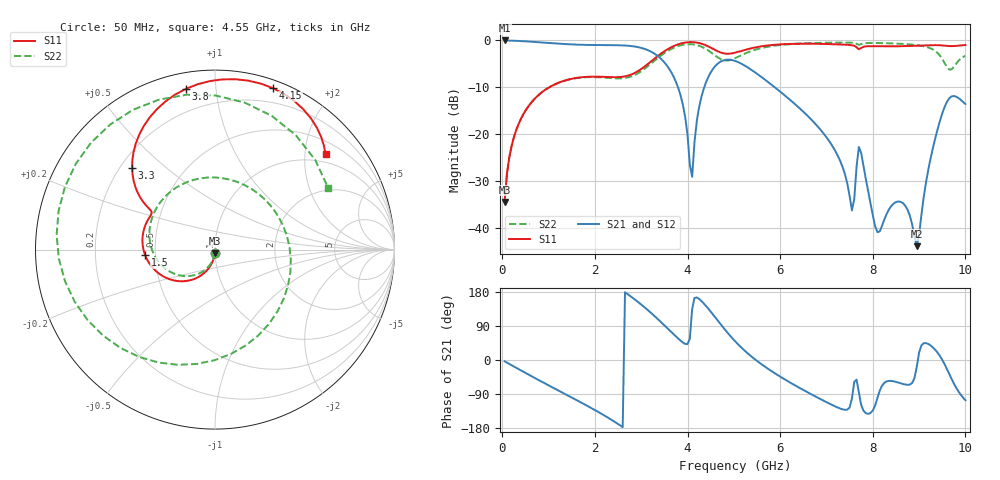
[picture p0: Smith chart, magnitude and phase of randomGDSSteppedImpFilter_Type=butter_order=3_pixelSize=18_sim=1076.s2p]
! freq	dB(S11)	phase(S11)	dB(S12)	phase(S12)
!  dB(S21)	phase(S21)	dB(S22)	phase(S22)
!S-par simulation data
#  GHz  S  DB  R 50
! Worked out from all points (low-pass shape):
!   200 points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, 50 MHz to 10 GHz, reference 50 ohm
!   highest |S21| = -0.01 dB at 50 MHz (marker M1); lowest = -43.8 dB at 8.95 GHz (marker M2)
!   |S21| within 3 dB of the highest: start of sweep to 3.314 GHz
!   lowest |S11| = -34.4 dB at 50 MHz (marker M3), VSWR 1.04, Z = 49.9 - j1.9 ohm
!   |S11| at or under -10 dB: start of sweep to 1.008 GHz
!   |S22| runs from -34.4 to -0.5 dB; largest |S21 - S12| = 0
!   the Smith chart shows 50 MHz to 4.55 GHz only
!   S11 on the Smith chart (normalised r, x): 50 MHz: 1.00, -0.04; 1.5 GHz: 0.44, -0.03; 3.3 GHz: 0.25, +0.39; 3.8 GHz: 0.08, +0.83; 4.15 GHz: 0.07, +1.42; 4.55 GHz: 0.79, +2.47
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0.05  -34.40 -92.5  -0.01 -3.5  -0.01 -3.5  -34.42 -93.3
0.45  -15.79 -118.2  -0.16 -30.7  -0.16 -30.7  -15.80 -124.1
1.5  -8.16 -175.7  -0.85 -99.0  -0.85 -99.0  -8.20 156.6
1.75  -7.80 173.0  -0.94 -115.3  -0.94 -115.3  -7.86 135.6
2.65  -7.64 148.9  -1.09 178.7  -1.09 178.7  -8.00 27.7
3.3  -3.77 135.5  -2.91 114.5  -2.91 114.5  -4.21 -90.2
3.4  -3.01 129.9  -3.67 103.1  -3.67 103.1  -3.42 -107.9
3.8  -0.82 100.2  -10.13 56.5  -10.13 56.5  -1.19 -176.7
4.1  -0.36 74.5  -29.04 134.8  -29.04 134.8  -0.82 130.0
4.15  -0.39 70.2  -21.65 163.8  -21.65 163.8  -0.89 120.4
4.55  -1.79 40.8  -6.06 120.1  -6.06 120.1  -2.88 28.4
5.05  -2.56 25.2  -4.44 46.5  -4.44 46.5  -3.68 -113.9
5.6  -1.25 -4.3  -7.82 -11.5  -7.82 -11.5  -1.62 158.2
6.7  -0.71 -77.2  -17.13 -92.3  -17.13 -92.3  -0.55 66.3
7.6  -1.14 -149.7  -33.81 -57.6  -33.81 -57.6  -0.55 9.5
7.7  -1.89 -156.5  -22.68 -85.2  -22.68 -85.2  -0.94 4.9
8.1  -1.24 166.5  -40.81 -100.8  -40.81 -100.8  -0.55 -17.5
8.35  -1.26 140.3  -35.97 -55.2  -35.97 -55.2  -0.61 -32.7
8.95  -1.12 76.9  -43.79 -18.0  -43.79 -18.0  -0.99 -76.2
9.45  -1.03 29.6  -17.15 10.6  -17.15 10.6  -3.22 -157.6
9.65  -1.20 14.1  -12.33 -36.4  -12.33 -36.4  -6.21 104.4
10  -0.98 -8.8  -13.53 -106.1  -13.53 -106.1  -3.27 -36.8
